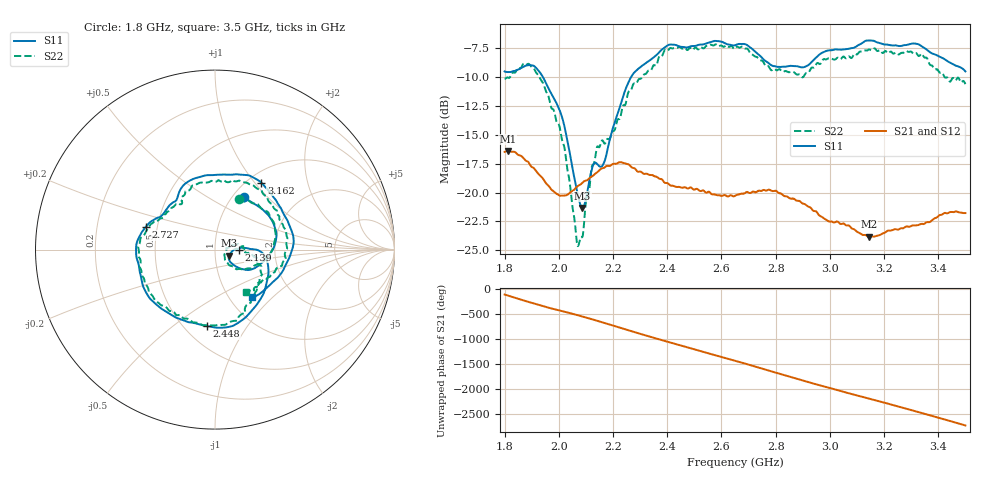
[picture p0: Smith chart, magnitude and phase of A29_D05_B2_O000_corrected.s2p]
! Created with skrf 1.9.0 (http://scikit-rf.org).
# Hz S RI R 50.0
!freq ReS11 ImS11 ReS21 ImS21 ReS12 ImS12 ReS22 ImS22
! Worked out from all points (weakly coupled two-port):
!   1601 points, 1.8 GHz to 3.5 GHz, reference 50 ohm
!   highest |S21| = -16.40 dB at 1.812 GHz (marker M1); lowest = -23.8 dB at 3.144 GHz (marker M2)
!   lowest |S11| = -21.3 dB at 2.087 GHz (marker M3), VSWR 1.19, Z = 58.4 - j3.94 ohm
!   |S11| at or under -10 dB: 1.941 GHz to 2.267 GHz (325.2 MHz wide, 15.5 % of centre)
!   |S22| runs from -24.6 to -7.2 dB; largest |S21 - S12| = 0.0028
!   S11 on the Smith chart (normalised r, x): 1.8 GHz: 1.12, +0.74; 2.139 GHz: 1.31, +0.00; 2.448 GHz: 0.64, -0.67; 2.727 GHz: 0.43, +0.13; 3.162 GHz: 1.15, +1.08; 3.5 GHz: 1.27, -0.75
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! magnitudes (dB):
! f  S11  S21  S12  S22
! 1.8 GHz  -9.5  -16.5  -16.5  -10.1
! 1.812 GHz  -9.6  -16.4  -16.4  -10.0
! 1.885 GHz  -9.0  -17.3  -17.4  -8.9
! 1.94 GHz  -10.0  -18.8  -18.8  -10.5
! 2.011 GHz  -13.4  -20.3  -20.3  -15.4
! 2.066 GHz  -19.7  -19.5  -19.5  -24.1
! 2.084 GHz  -21.3  -19.2  -19.2  -23.8
! 2.087 GHz  -21.3  -19.2  -19.2  -23.8
! 2.139 GHz  -17.5  -18.3  -18.3  -16.2
! 2.167 GHz  -17.4  -17.9  -17.8  -15.7
! 2.266 GHz  -10.0  -17.8  -17.7  -11.1
! 2.367 GHz  -7.9  -18.7  -18.7  -8.4
! 2.448 GHz  -7.4  -19.5  -19.5  -7.4
! 2.65 GHz  -7.2  -20.3  -20.3  -7.5
! 2.727 GHz  -7.8  -20.0  -20.0  -8.2
! 2.799 GHz  -9.1  -19.8  -19.8  -9.3
! 2.934 GHz  -8.7  -21.4  -21.4  -9.2
! 3.144 GHz  -6.8  -23.8  -23.8  -7.6
! 3.162 GHz  -6.9  -23.8  -23.8  -7.6
! 3.217 GHz  -7.2  -23.3  -23.3  -7.9
! 3.341 GHz  -7.4  -22.7  -22.7  -8.0
! 3.5 GHz  -9.5  -21.8  -21.8  -10.6
